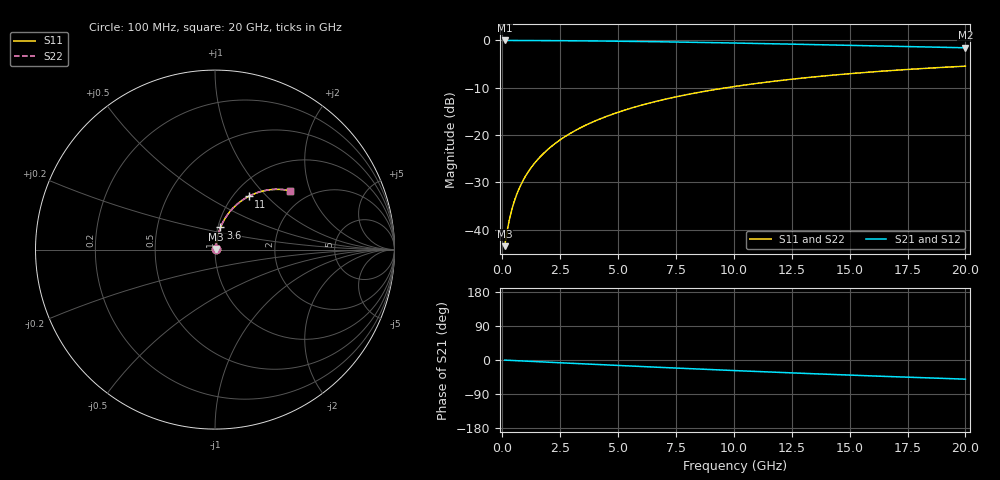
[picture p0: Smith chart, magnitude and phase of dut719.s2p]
! Touchstone file exported from HFSS 2026.1.0
!  File:  C:/ffzhzh/LocalFiles/Ansys_Project_Files/temp_train_BSMRDL_719_1783168311_55132.aedt
!  Generated:  08:33:09 PM Jul  4, 2026
!  Design:  BSMRDL
!  Project:  temp_train_BSMRDL_719_1783168311_55132
! Variables:
!  h_bsmrdl = 3.12um
!  h_ox = 20um
!  h_rdl = 5um
!  h_sub = 80um
!  h_tmrdl = 5um
!  h_tsv = 80um
!  h_via = 3um
!  l_bsmrdl = 701.25um
!  l_sub = 1101.25um
!  l_tmrdl = 200um
!  m_sub = 200um
!  pitch = 49.09um
!  r_tsv = 6um
!  s_tmrdl = 10um
!  w_bsmrdl = 14.45um
!  w_sub = 500um
!  w_tmrdl = 12um
!  x_tsv_center1 = 206um
!  x_tsv_center2 = 921.7um
!  x_tsv_center3 = 1133.7um
!  x_tsv_center4 = 1849.4um
!  x_tsv_center5 = 2061.4um
!  x_tsv_center6 = 2777.1um
# GHz S MA R 50.000000
! Terminal data exported
! Port[1] = BSM_RDL1_1_T1
! Port[2] = BSM_RDL1_1_T2
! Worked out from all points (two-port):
!   200 points, 100 MHz to 20 GHz, reference 50 ohm
!   highest |S21| = -0.05 dB at 100 MHz (marker M1); lowest = -1.6 dB at 20 GHz (marker M2)
!   |S21| within 3 dB of the highest: start of sweep to end of sweep
!   lowest |S11| = -43.4 dB at 100 MHz (marker M3), VSWR 1.01, Z = 50.6 + j0.377 ohm
!   |S11| at or under -10 dB: start of sweep to 9.702 GHz
!   |S22| runs from -43.4 to -5.5 dB; largest |S21 - S12| = 2.3e-15
!   S11 on the Smith chart (normalised r, x): 100 MHz: 1.01, +0.01; 3.6 GHz: 1.03, +0.26; 11 GHz: 1.17, +0.79; 20 GHz: 1.62, +1.48
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0.1  0.006728 33.7  0.9944 -0.3  0.9944 -0.3  0.006728 33.7
! Gamma 0 0 0 0
! Port Impedance 50 0 50 0
0.2  0.009395 52.3  0.9943 -0.6  0.9943 -0.6  0.009395 52.3
0.3  0.01259 61.7  0.9941 -0.9  0.9941 -0.9  0.01259 61.7
0.4  0.01596 67.0  0.994 -1.2  0.994 -1.2  0.01596 67.0
0.5  0.0194 70.3  0.9938 -1.5  0.9938 -1.5  0.0194 70.3
0.6  0.02285 72.6  0.9936 -1.8  0.9936 -1.8  0.02285 72.6
0.8  0.02979 75.3  0.9932 -2.4  0.9932 -2.4  0.02979 75.3
1.1  0.04023 77.3  0.9927 -3.2  0.9927 -3.2  0.04023 77.4
1.5  0.05419 78.4  0.9918 -4.4  0.9918 -4.4  0.05418 78.4
2.1  0.07513 78.5  0.9902 -6.1  0.9902 -6.1  0.07513 78.5
2.7  0.09599 77.8  0.9882 -7.9  0.9882 -7.9  0.09598 77.8
3.5  0.1235 76.3  0.9848 -10.2  0.9848 -10.2  0.1235 76.3
3.6  0.1269 76.1  0.9843 -10.5  0.9843 -10.5  0.1269 76.1
4.3  0.1506 74.5  0.9806 -12.5  0.9806 -12.5  0.1506 74.5
5  0.1738 72.8  0.9764 -14.4  0.9764 -14.4  0.1738 72.8
6.8  0.2314 68.2  0.9634 -19.4  0.9634 -19.4  0.2314 68.3
8.3  0.2766 64.4  0.9506 -23.4  0.9506 -23.4  0.2765 64.4
10.1  0.3271 59.9  0.9337 -28.1  0.9337 -28.1  0.327 59.9
11  0.3508 57.7  0.9247 -30.4  0.9247 -30.4  0.3507 57.8
13.4  0.4089 52.0  0.8999 -36.2  0.8999 -36.2  0.4089 52.1
16.7  0.4771 44.7  0.8653 -43.6  0.8653 -43.6  0.4771 44.8
20  0.5327 37.9  0.8325 -50.6  0.8325 -50.6  0.5327 38.0
